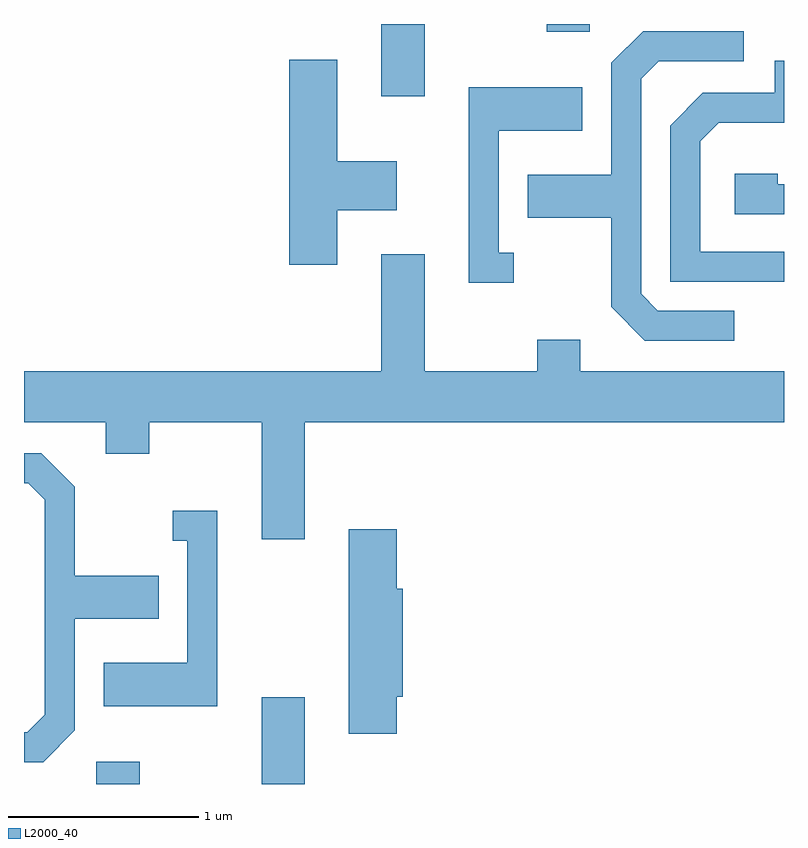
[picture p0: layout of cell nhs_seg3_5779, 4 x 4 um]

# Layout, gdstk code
import gdstk
lib = gdstk.Library(unit=1e-6, precision=1e-09)
def R(c, l, rs):  # rectangles x0, y0, x1, y1
    for r in rs: c.add(gdstk.rectangle(r[:2], r[2:], *l))
def P(c, l, *ps):  # polygons
    for p in ps: c.add(gdstk.Polygon(p, *l))
L2000_40 = (2000, 40)

nhs_seg3_5779 = lib.new_cell('nhs_seg3_5779')
R(nhs_seg3_5779, L2000_40, [(355.991,1121.892,356.219,1122.009), (356.861,1121.892,357.089,1122.349), (357.491,1125.511,357.719,1125.892), (358.361,1125.851,358.589,1125.892)])
P(nhs_seg3_5779, L2000_40, [(359.348,1124.384),(358.947,1124.384),(358.859,1124.472),(358.859,1125.604),(358.952,1125.696),(359.398,1125.696),(359.398,1125.854),(358.869,1125.854),(358.701,1125.687),(358.701,1125.099),(358.261,1125.099),(358.261,1124.871),(358.701,1124.871),(358.701,1124.404),(358.879,1124.226),(359.348,1124.226)],
  [(357.259,1124.911),(357.574,1124.911),(357.574,1125.169),(357.259,1125.169),(357.259,1125.704),(357.006,1125.704),(357.006,1124.626),(357.259,1124.626)],
  [(359.611,1124.694),(359.169,1124.694),(359.169,1125.274),(359.267,1125.371),(359.611,1125.371),(359.611,1125.699),(359.561,1125.699),(359.561,1125.529),(359.184,1125.529),(359.011,1125.357),(359.011,1124.536),(359.611,1124.536)],
  [(358.188,1124.689),(358.109,1124.689),(358.109,1125.331),(358.549,1125.331),(358.549,1125.559),(357.951,1125.559),(357.951,1124.531),(358.188,1124.531)],
  [(359.611,1125.049),(359.579,1125.049),(359.579,1125.104),(359.351,1125.104),(359.351,1124.891),(359.611,1124.891)],
  [(358.311,1124.229),(358.311,1124.064),(357.719,1124.064),(357.719,1124.679),(357.491,1124.679),(357.491,1124.064),(355.611,1124.064),(355.611,1123.796),(356.041,1123.796),(356.041,1123.631),(356.269,1123.631),(356.269,1123.796),(356.861,1123.796),(356.861,1123.181),(357.089,1123.181),(357.089,1123.796),(359.611,1123.796),(359.611,1124.064),(358.539,1124.064),(358.539,1124.229)],
  [(355.718,1122.013),(355.879,1122.174),(355.879,1122.761),(356.319,1122.761),(356.319,1122.989),(355.879,1122.989),(355.879,1123.457),(355.702,1123.634),(355.611,1123.634),(355.611,1123.476),(355.634,1123.476),(355.721,1123.389),(355.721,1122.257),(355.629,1122.164),(355.611,1122.164),(355.611,1122.006),(355.712,1122.006)],
  [(356.629,1123.329),(356.393,1123.329),(356.393,1123.171),(356.471,1123.171),(356.471,1122.529),(356.031,1122.529),(356.031,1122.301),(356.629,1122.301)],
  [(357.574,1122.351),(357.604,1122.351),(357.604,1122.919),(357.574,1122.919),(357.574,1123.234),(357.321,1123.234),(357.321,1122.156),(357.574,1122.156)])

lib.write_gds('nhs_seg3_5779.gds')
